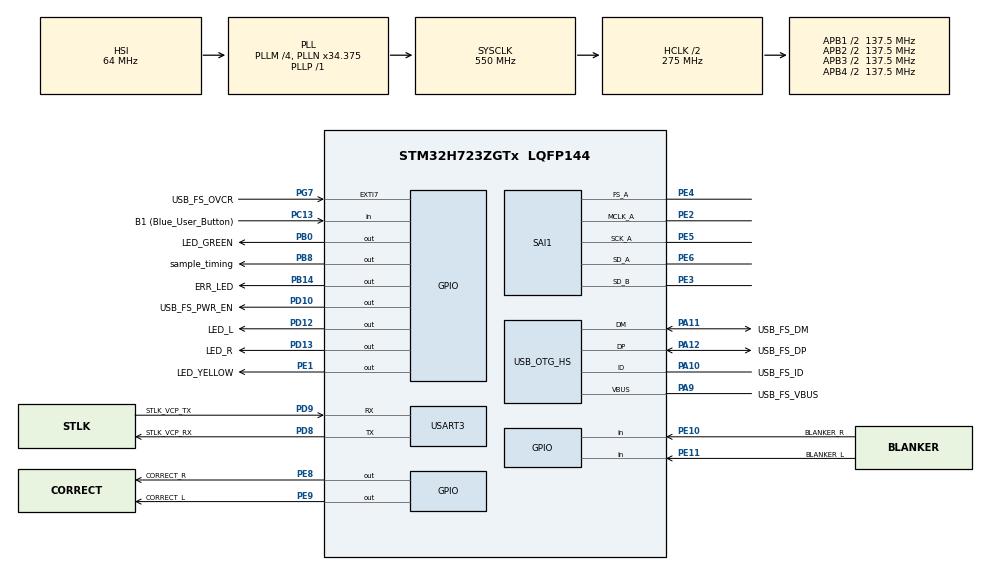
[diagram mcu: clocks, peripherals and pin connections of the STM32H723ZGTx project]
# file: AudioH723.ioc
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CORTEX_M7.AccessPermission-Cortex_Memory_Protection_Unit_Region0_Settings=MPU_REGION_FULL_ACCESS
CORTEX_M7.CPU_DCache=Disabled
CORTEX_M7.CPU_ICache=Disabled
CORTEX_M7.DisableExec-Cortex_Memory_Protection_Unit_Region0_Settings=MPU_INSTRUCTION_ACCESS_ENABLE
CORTEX_M7.Enable-Cortex_Memory_Protection_Unit_Region0_Settings=MPU_REGION_ENABLE
CORTEX_M7.IsShareable-Cortex_Memory_Protection_Unit_Region0_Settings=MPU_ACCESS_SHAREABLE
CORTEX_M7.MPU_Control=MPU_PRIVILEGED_DEFAULT
CORTEX_M7.Size-Cortex_Memory_Protection_Unit_Region0_Settings=MPU_REGION_SIZE_1GB
CORTEX_M7.SubRegionDisable-Cortex_Memory_Protection_Unit_Region0_Settings=0x87
Dma.Request0=SAI1_A
Dma.Request1=SAI1_B
Dma.Request2=USART3_TX
Dma.SAI1_A.0.Direction=DMA_PERIPH_TO_MEMORY
Dma.SAI1_A.0.EventEnable=DISABLE
Dma.SAI1_A.0.FIFOMode=DMA_FIFOMODE_DISABLE
Dma.SAI1_A.0.Instance=DMA1_Stream6
Dma.SAI1_A.0.MemDataAlignment=DMA_MDATAALIGN_HALFWORD
Dma.SAI1_A.0.MemInc=DMA_MINC_ENABLE
Dma.SAI1_A.0.Mode=DMA_CIRCULAR
Dma.SAI1_A.0.PeriphDataAlignment=DMA_PDATAALIGN_HALFWORD
Dma.SAI1_A.0.PeriphInc=DMA_PINC_DISABLE
Dma.SAI1_A.0.Polarity=HAL_DMAMUX_REQ_GEN_RISING
Dma.SAI1_A.0.Priority=DMA_PRIORITY_HIGH
Dma.SAI1_A.0.RequestNumber=1
Dma.SAI1_A.0.SignalID=NONE
Dma.SAI1_A.0.SyncEnable=DISABLE
Dma.SAI1_A.0.SyncPolarity=HAL_DMAMUX_SYNC_NO_EVENT
Dma.SAI1_A.0.SyncRequestNumber=1
Dma.SAI1_A.0.SyncSignalID=NONE
Dma.SAI1_B.1.Direction=DMA_MEMORY_TO_PERIPH
Dma.SAI1_B.1.EventEnable=DISABLE
Dma.SAI1_B.1.FIFOMode=DMA_FIFOMODE_DISABLE
Dma.SAI1_B.1.Instance=DMA1_Stream3
Dma.SAI1_B.1.MemDataAlignment=DMA_MDATAALIGN_HALFWORD
Dma.SAI1_B.1.MemInc=DMA_MINC_ENABLE
Dma.SAI1_B.1.Mode=DMA_CIRCULAR
Dma.SAI1_B.1.PeriphDataAlignment=DMA_PDATAALIGN_HALFWORD
Dma.SAI1_B.1.PeriphInc=DMA_PINC_DISABLE
Dma.SAI1_B.1.Polarity=HAL_DMAMUX_REQ_GEN_RISING
Dma.SAI1_B.1.Priority=DMA_PRIORITY_HIGH
Dma.SAI1_B.1.RequestNumber=1
Dma.SAI1_B.1.SignalID=NONE
Dma.SAI1_B.1.SyncEnable=DISABLE
Dma.SAI1_B.1.SyncPolarity=HAL_DMAMUX_SYNC_NO_EVENT
Dma.SAI1_B.1.SyncRequestNumber=1
Dma.SAI1_B.1.SyncSignalID=NONE
Dma.USART3_TX.2.Direction=DMA_MEMORY_TO_PERIPH
Dma.USART3_TX.2.EventEnable=DISABLE
Dma.USART3_TX.2.FIFOMode=DMA_FIFOMODE_ENABLE
Dma.USART3_TX.2.FIFOThreshold=DMA_FIFO_THRESHOLD_FULL
Dma.USART3_TX.2.Instance=DMA2_Stream1
Dma.USART3_TX.2.MemBurst=DMA_MBURST_SINGLE
Dma.USART3_TX.2.MemDataAlignment=DMA_MDATAALIGN_BYTE
Dma.USART3_TX.2.MemInc=DMA_MINC_ENABLE
Dma.USART3_TX.2.Mode=DMA_NORMAL
Dma.USART3_TX.2.PeriphBurst=DMA_PBURST_SINGLE
Dma.USART3_TX.2.PeriphDataAlignment=DMA_PDATAALIGN_BYTE
Dma.USART3_TX.2.PeriphInc=DMA_PINC_DISABLE
Dma.USART3_TX.2.Polarity=HAL_DMAMUX_REQ_GEN_RISING
Dma.USART3_TX.2.Priority=DMA_PRIORITY_HIGH
Dma.USART3_TX.2.RequestNumber=1
Dma.USART3_TX.2.SignalID=NONE
Dma.USART3_TX.2.SyncEnable=DISABLE
Dma.USART3_TX.2.SyncPolarity=HAL_DMAMUX_SYNC_NO_EVENT
Dma.USART3_TX.2.SyncRequestNumber=1
Dma.USART3_TX.2.SyncSignalID=NONE
Mcu.Family=STM32H7
Mcu.Name=STM32H723ZGTx
Mcu.Package=LQFP144
NVIC.DMA1_Stream3_IRQn=true\:0\:0\:true\:false\:true\:false\:true\:true
NVIC.DMA1_Stream6_IRQn=true\:0\:0\:true\:false\:true\:false\:true\:true
NVIC.DMA2_Stream1_IRQn=true\:0\:0\:false\:false\:true\:false\:true\:true
NVIC.PriorityGroup=NVIC_PRIORITYGROUP_4
NVIC.TIM16_IRQn=true\:0\:0\:false\:false\:true\:true\:true\:true
NVIC.TIM1_UP_IRQn=true\:0\:0\:false\:false\:true\:true\:true\:true
NVIC.TIM23_IRQn=true\:2\:0\:true\:false\:true\:true\:true\:true
NVIC.TIM2_IRQn=true\:2\:0\:true\:false\:true\:false\:true\:true
NVIC.TIM5_IRQn=true\:0\:0\:false\:false\:true\:true\:true\:true
NVIC.TimeBase=TIM2_IRQn
NVIC.TimeBaseIP=TIM2
NVIC.USART3_IRQn=true\:5\:0\:true\:false\:true\:true\:true\:true
PA10.GPIO_Label=USB_FS_ID
PA10.Mode=OTG/Dual-Role-Device-FS
PA10.Signal=USB_OTG_HS_ID
PA11.GPIO_Label=USB_FS_DM
PA11.Mode=OTG/Dual-Role-Device-FS
PA11.Signal=USB_OTG_HS_DM
PA12.GPIO_Label=USB_FS_DP
PA12.Mode=OTG/Dual-Role-Device-FS
PA12.Signal=USB_OTG_HS_DP
PA13(JTMS/SWDIO).GPIO_Label=SWDIO
PA13(JTMS/SWDIO).Mode=Trace_Asynchronous_SW
PA13(JTMS/SWDIO).Signal=DEBUG_JTMS-SWDIO
PA14(JTCK/SWCLK).GPIO_Label=SWCLK
PA14(JTCK/SWCLK).Mode=Trace_Asynchronous_SW
PA14(JTCK/SWCLK).Signal=DEBUG_JTCK-SWCLK
PA9.GPIO_Label=USB_FS_VBUS
PA9.Mode=Activate_VBUS_FS
PA9.Signal=USB_OTG_HS_VBUS
PB0.GPIO_Label=LED_GREEN
PB0.GPIO_Speed=GPIO_SPEED_FREQ_VERY_HIGH
PB0.Signal=GPIO_Output
PB14.GPIO_Label=ERR_LED
PB14.GPIO_PuPd=GPIO_PULLDOWN
PB14.GPIO_Speed=GPIO_SPEED_FREQ_VERY_HIGH
PB14.Signal=GPIO_Output
PB3(JTDO/TRACESWO).GPIO_Label=SWO
PB3(JTDO/TRACESWO).Mode=Trace_Asynchronous_SW
PB3(JTDO/TRACESWO).Signal=DEBUG_JTDO-SWO
PB8.GPIO_FM8=__NULL
PB8.GPIO_Label=sample_timing
PB8.GPIO_PuPd=GPIO_PULLDOWN
PB8.GPIO_Speed=GPIO_SPEED_FREQ_VERY_HIGH
PB8.Signal=GPIO_Output
PC13.GPIO_Label=B1 (Blue_User_Button)
PC13.Signal=GPIO_Input
PC14-OSC32_IN.Signal=RCC_OSC32_IN
PC15-OSC32_OUT.Signal=RCC_OSC32_OUT
PD10.GPIO_Label=USB_FS_PWR_EN
PD10.GPIO_PuPd=GPIO_NOPULL
PD10.GPIO_Speed=GPIO_SPEED_FREQ_VERY_HIGH
PD10.Signal=GPIO_Output
PD12.GPIO_Label=LED_L
PD12.GPIO_PuPd=GPIO_PULLDOWN
PD12.GPIO_Speed=GPIO_SPEED_FREQ_VERY_HIGH
PD12.Signal=GPIO_Output
PD13.GPIO_Label=LED_R
PD13.GPIO_PuPd=GPIO_PULLDOWN
PD13.GPIO_Speed=GPIO_SPEED_FREQ_VERY_HIGH
PD13.Signal=GPIO_Output
PD8.GPIO_Label=STLK_VCP_RX
PD8.Mode=Asynchronous
PD8.Signal=USART3_TX
PD9.GPIO_Label=STLK_VCP_TX
PD9.Mode=Asynchronous
PD9.Signal=USART3_RX
PE1.GPIO_Label=LED_YELLOW
PE1.Signal=GPIO_Output
PE10.GPIO_Label=BLANKER_R
PE10.GPIO_PuPd=GPIO_PULLDOWN
PE10.Signal=GPIO_Input
PE11.GPIO_Label=BLANKER_L
PE11.GPIO_PuPd=GPIO_PULLDOWN
PE11.Signal=GPIO_Input
PE13.GPIO_Speed=GPIO_SPEED_FREQ_VERY_HIGH
PE13.Signal=S_TIM1_CH3
PE2.GPIO_Speed=GPIO_SPEED_FREQ_VERY_HIGH
PE2.Mode=SAI_A_MasterWithClock
PE2.Signal=SAI1_MCLK_A
PE3.GPIO_Speed=GPIO_SPEED_FREQ_VERY_HIGH
PE3.Mode=SAI_B_SyncSlave
PE3.Signal=SAI1_SD_B
PE4.GPIO_Speed=GPIO_SPEED_FREQ_VERY_HIGH
PE4.Mode=SAI_A_MasterWithClock
PE4.Signal=SAI1_FS_A
PE5.GPIO_Speed=GPIO_SPEED_FREQ_VERY_HIGH
PE5.Mode=SAI_A_MasterWithClock
PE5.Signal=SAI1_SCK_A
PE6.GPIO_Speed=GPIO_SPEED_FREQ_VERY_HIGH
PE6.Mode=SAI_A_MasterWithClock
PE6.Signal=SAI1_SD_A
PE8.GPIO_Label=CORRECT_R
PE8.GPIO_PuPd=GPIO_PULLDOWN
PE8.GPIO_Speed=GPIO_SPEED_FREQ_VERY_HIGH
PE8.Signal=GPIO_Output
PE9.GPIO_Label=CORRECT_L
PE9.GPIO_PuPd=GPIO_PULLDOWN
PE9.GPIO_Speed=GPIO_SPEED_FREQ_VERY_HIGH
PE9.Signal=GPIO_Output
PG14.Signal=S_TIM23_CH3
PG7.GPIO_Label=USB_FS_OVCR
PG7.Signal=GPXTI7
PH0-OSC_IN.GPIO_Label=MCO
PH0-OSC_IN.Mode=HSE-External-Clock-Source
PH0-OSC_IN.Signal=RCC_OSC_IN
ProjectManager.HeapSize=0x400
ProjectManager.StackSize=0x800
ProjectManager.TargetToolchain=STM32CubeIDE
RCC.ADCFreq_Value=96000000
RCC.APB1Freq_Value=137500000
RCC.APB2Freq_Value=137500000
RCC.APB3Freq_Value=137500000
RCC.APB4Freq_Value=137500000
RCC.CortexFreq_Value=550000000
RCC.D1PPRE=RCC_APB3_DIV2
RCC.D2PPRE1=RCC_APB1_DIV2
RCC.D2PPRE2=RCC_APB2_DIV2
RCC.D3PPRE=RCC_APB4_DIV2
RCC.DIVM1=4
RCC.DIVM2=4
RCC.DIVN1=34
RCC.DIVN2=12
RCC.DIVP1=1
RCC.DIVQ1=4
RCC.HCLKFreq_Value=275000000
RCC.HPRE=RCC_HCLK_DIV2
RCC.HSE_VALUE=8000000
RCC.LSE_VALUE=32.77
RCC.PLL2FRACN=0
RCC.PLL3FRACN=0
RCC.PLL3_VCO_SEL-AdvancedSettings=RCC_PLL3VCOMEDIUM
RCC.PLLFRACN=3072
RCC.SAI1CLockSelection=RCC_SAI1CLKSOURCE_PLL2
RCC.SPI123CLockSelection=RCC_SPI123CLKSOURCE_PLL2
RCC.SYSCLKFreq_VALUE=550000000
RCC.SYSCLKSource=RCC_SYSCLKSOURCE_PLLCLK
RCC.USBCLockSelection=RCC_USBCLKSOURCE_HSI48
RCC.USBFreq_Value=48000000
SAI1.AudioFrequency-SAI_A_MasterWithClock=SAI_AUDIO_FREQUENCY_96K
SAI1.AudioMode-SAI_A_MasterWithClock=SAI_MODEMASTER_RX
SAI1.AudioMode-SAI_B_SyncSlave=SAI_MODESLAVE_TX
SAI1.BasicDataSize-SAI_B_SyncSlave=SAI_PROTOCOL_DATASIZE_16BIT
SAI1.BasicProtocol-SAI_B_SyncSlave=SAI_I2S_STANDARD
SAI1.ErrorAudioFreq-SAI_A_MasterWithClock=-2.34 %
SAI1.FIFOThreshold-SAI_A_MasterWithClock=SAI_FIFOTHRESHOLD_FULL
SAI1.FIFOThreshold-SAI_B_SyncSlave=SAI_FIFOTHRESHOLD_FULL
SAI1.InitProtocol-SAI_A_MasterWithClock=Enable
SAI1.InitProtocol-SAI_B_SyncSlave=Enable
SAI1.Instance-SAI_A_MasterWithClock=SAI$Index_Block_A
SAI1.Instance-SAI_B_SyncSlave=SAI$Index_Block_B
SAI1.MckOutput-SAI_A_MasterWithClock=SAI_MCK_OUTPUT_ENABLE
SAI1.OutputDrive-SAI_A_MasterWithClock=SAI_OUTPUTDRIVE_ENABLE
SAI1.OutputDrive-SAI_B_SyncSlave=SAI_OUTPUTDRIVE_ENABLE
SAI1.RealAudioFreq-SAI_A_MasterWithClock=93.75 KHz
SAI1.VirtualMode-SAI_A_MasterWithClock=VM_MASTER
SAI1.VirtualMode-SAI_B_SyncSlave=VM_SLAVE
SAI1.VirtualProtocol-SAI_A_BASIC=VM_BASIC_PROTOCOL
SAI1.VirtualProtocol-SAI_B_BASIC=VM_BASIC_PROTOCOL
SH.S_TIM1_CH3.0=TIM1_CH3
SH.S_TIM23_CH3.0=TIM23_CH3
TIM1.ClockDivision=TIM_CLOCKDIVISION_DIV1
TIM1.Period=9
TIM1.Prescaler=274
TIM16.Period=49
TIM16.Prescaler=54999
TIM23.Period=2749
TIM23.Prescaler=0
TIM5.Period=9
TIM5.Prescaler=274
USART3.VirtualMode-Asynchronous=VM_ASYNC
VP_SAI1_VP_$IpInstance_SAIA_SAI_BASIC.Mode=SAI_A_BASIC
VP_SAI1_VP_$IpInstance_SAIB_SAI_BASIC.Mode=SAI_B_BASIC
VP_SYS_VS_tim2.Mode=TIM2
VP_TIM16_VS_ClockSourceINT.Mode=Enable_Timer
VP_TIM1_VS_ClockSourceINT.Mode=Internal
VP_TIM1_VS_OPM.Mode=OPM_bit
VP_TIM23_VS_ClockSourceINT.Mode=Internal
VP_TIM23_VS_OPM.Mode=OPM_bit
VP_TIM5_VS_ClockSourceINT.Mode=Internal
board=NUCLEO-H723ZG

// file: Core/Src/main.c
/* USER CODE BEGIN Header */
/**
  ******************************************************************************
  * @file           : main.c
  * @brief          : Main program body
  ******************************************************************************
  * @attention
  *
  * Copyright (c) 2022 STMicroelectronics.
  * All rights reserved.
  *
  * This software is licensed under terms that can be found in the LICENSE file
  * in the root directory of this software component.
  * If no LICENSE file comes with this software, it is provided AS-IS.
  *
  ******************************************************************************
  */
/* USER CODE END Header */
#include "main.h"

/* USER CODE BEGIN Includes */
#include <stdio.h>
#include <stdlib.h>
#include <stdbool.h>
#include <math.h>

#include "logging.h"

#include "audio_dsp.h"

// #define PASS_THRU_ENABLED

/* USER CODE END Includes */

SAI_HandleTypeDef hsai_BlockA1;
SAI_HandleTypeDef hsai_BlockB1;
DMA_HandleTypeDef hdma_sai1_a;
DMA_HandleTypeDef hdma_sai1_b;

TIM_HandleTypeDef htim1;
TIM_HandleTypeDef htim5;
TIM_HandleTypeDef htim16;
TIM_HandleTypeDef htim23;

UART_HandleTypeDef huart3;
DMA_HandleTypeDef hdma_usart3_tx;

/* USER CODE BEGIN PV */

ALIGN_32BYTES(uint16_t rx_buf[4]);
ALIGN_32BYTES(uint16_t tx_buf[4]);

volatile uint32_t processing_time_us;

/* USER CODE END PV */

void SystemClock_Config(void);
void PeriphCommonClock_Config(void);
static void MPU_Config(void);
static void MX_GPIO_Init(void);
static void MX_DMA_Init(void);
static void MX_USB_OTG_HS_USB_Init(void);
static void MX_USART3_UART_Init(void);
static void MX_SAI1_Init(void);
static void MX_TIM1_Init(void);
static void MX_TIM16_Init(void);
static void MX_TIM23_Init(void);
static void MX_TIM5_Init(void);

int main(void)
{

  /* MCU Configuration--------------------------------------------------------*/

  /* Reset of all peripherals, Initializes the Flash interface and the Systick. */
  HAL_Init();

  /* MPU Configuration--------------------------------------------------------*/
  MPU_Config();

  /* Configure the system clock */
  SystemClock_Config();

/* Configure the peripherals common clocks */
  PeriphCommonClock_Config();

  /* Initialize all configured peripherals */
  MX_GPIO_Init();
  MX_DMA_Init();
  MX_USB_OTG_HS_USB_Init();
  MX_USART3_UART_Init();
  MX_SAI1_Init();
  MX_TIM1_Init();
  MX_TIM16_Init();
  MX_TIM23_Init();
  MX_TIM5_Init();
  /* USER CODE BEGIN 2 */

  // init_dma_logging();

  rx_buf[0]=0;
  rx_buf[1]=0;
  rx_buf[2]=0;
  rx_buf[3]=0;
  tx_buf[0]=0;
  tx_buf[1]=0;
  tx_buf[2]=0;
  tx_buf[3]=0;

  printf("\r\nDUVITECH Copyright 2023\r\n");
  printf("AUDIO Processing Demo Shield v2.0\r\n\r\n");
  printf("AUDIO: %lu Hz 16 bits \r\n", hsai_BlockA1.Init.AudioFrequency);
  //printf("M0: %i\r\n", TKS_M0);
  //printf("K: %i\r\n", TKE_K);

  // initialize
  processing_time_us = 0;

  ((GPIO_TypeDef*) CORRECT_R_GPIO_Port)->BSRR = (uint32_t) CORRECT_R_Pin << 16U; // reset pin
  ((GPIO_TypeDef*) CORRECT_L_GPIO_Port)->BSRR = (uint32_t) CORRECT_L_Pin << 16U; // reset pin
  ((GPIO_TypeDef*) sample_timing_GPIO_Port)->BSRR = (uint32_t) sample_timing_Pin << 16U; // reset pin
  audio_dsp_init();
  HAL_Delay(200);

  ((GPIO_TypeDef*) sample_timing_GPIO_Port)->BSRR = sample_timing_Pin;  // timing start

  if (HAL_OK != HAL_SAI_Transmit_DMA(&hsai_BlockB1, (uint8_t*) tx_buf, 4)) {
	Error_Handler();
  }

  if (HAL_OK != HAL_SAI_Receive_DMA(&hsai_BlockA1, (uint8_t*) rx_buf, 4)) {
	Error_Handler();
  }

  //HAL_TIM_PWM_Start(&htim1, TIM_CHANNEL_3);
  // HAL_TIM_Base_Start_IT(&htim5);
  /* USER CODE END 2 */

  /* Infinite loop */
  while (1)
  {

    /* USER CODE BEGIN 3 */
    // Print the processing time every few seconds
	// printf("Processing Time: %ld uSec\r\n", processing_time_us);
	// Delay for a few seconds (adjust as needed)
	HAL_Delay(2000); // Delay for 2 seconds

	//  processUartTxData();
  }
  /* USER CODE END 3 */
}

void SystemClock_Config(void)
{
  RCC_OscInitTypeDef RCC_OscInitStruct = {0};
  RCC_ClkInitTypeDef RCC_ClkInitStruct = {0};

  /** Supply configuration update enable
  */
  HAL_PWREx_ConfigSupply(PWR_LDO_SUPPLY);

  /** Configure the main internal regulator output voltage
  */
  __HAL_PWR_VOLTAGESCALING_CONFIG(PWR_REGULATOR_VOLTAGE_SCALE0);

  while(!__HAL_PWR_GET_FLAG(PWR_FLAG_VOSRDY)) {}

  /** Initializes the RCC Oscillators according to the specified parameters
  * in the RCC_OscInitTypeDef structure.
  */
  RCC_OscInitStruct.OscillatorType = RCC_OSCILLATORTYPE_HSI48|RCC_OSCILLATORTYPE_HSI;
  RCC_OscInitStruct.HSIState = RCC_HSI_DIV1;
  RCC_OscInitStruct.HSICalibrationValue = 64;
  RCC_OscInitStruct.HSI48State = RCC_HSI48_ON;
  RCC_OscInitStruct.PLL.PLLState = RCC_PLL_ON;
  RCC_OscInitStruct.PLL.PLLSource = RCC_PLLSOURCE_HSI;
  RCC_OscInitStruct.PLL.PLLM = 4;
  RCC_OscInitStruct.PLL.PLLN = 34;
  RCC_OscInitStruct.PLL.PLLP = 1;
  RCC_OscInitStruct.PLL.PLLQ = 4;
  RCC_OscInitStruct.PLL.PLLR = 2;
  RCC_OscInitStruct.PLL.PLLRGE = RCC_PLL1VCIRANGE_3;
  RCC_OscInitStruct.PLL.PLLVCOSEL = RCC_PLL1VCOWIDE;
  RCC_OscInitStruct.PLL.PLLFRACN = 3072;
  if (HAL_RCC_OscConfig(&RCC_OscInitStruct) != HAL_OK)
  {
    Error_Handler();
  }

  /** Initializes the CPU, AHB and APB buses clocks
  */
  RCC_ClkInitStruct.ClockType = RCC_CLOCKTYPE_HCLK|RCC_CLOCKTYPE_SYSCLK
                              |RCC_CLOCKTYPE_PCLK1|RCC_CLOCKTYPE_PCLK2
                              |RCC_CLOCKTYPE_D3PCLK1|RCC_CLOCKTYPE_D1PCLK1;
  RCC_ClkInitStruct.SYSCLKSource = RCC_SYSCLKSOURCE_PLLCLK;
  RCC_ClkInitStruct.SYSCLKDivider = RCC_SYSCLK_DIV1;
  RCC_ClkInitStruct.AHBCLKDivider = RCC_HCLK_DIV2;
  RCC_ClkInitStruct.APB3CLKDivider = RCC_APB3_DIV2;
  RCC_ClkInitStruct.APB1CLKDivider = RCC_APB1_DIV2;
  RCC_ClkInitStruct.APB2CLKDivider = RCC_APB2_DIV2;
  RCC_ClkInitStruct.APB4CLKDivider = RCC_APB4_DIV2;

  if (HAL_RCC_ClockConfig(&RCC_ClkInitStruct, FLASH_LATENCY_3) != HAL_OK)
  {
    Error_Handler();
  }
}

void PeriphCommonClock_Config(void)
{
  RCC_PeriphCLKInitTypeDef PeriphClkInitStruct = {0};

  /** Initializes the peripherals clock
  */
  PeriphClkInitStruct.PeriphClockSelection = RCC_PERIPHCLK_SAI1;
  PeriphClkInitStruct.PLL2.PLL2M = 4;
  PeriphClkInitStruct.PLL2.PLL2N = 12;
  PeriphClkInitStruct.PLL2.PLL2P = 2;
  PeriphClkInitStruct.PLL2.PLL2Q = 2;
  PeriphClkInitStruct.PLL2.PLL2R = 2;
  PeriphClkInitStruct.PLL2.PLL2RGE = RCC_PLL2VCIRANGE_3;
  PeriphClkInitStruct.PLL2.PLL2VCOSEL = RCC_PLL2VCOWIDE;
  PeriphClkInitStruct.PLL2.PLL2FRACN = 0;
  PeriphClkInitStruct.Sai1ClockSelection = RCC_SAI1CLKSOURCE_PLL2;
  if (HAL_RCCEx_PeriphCLKConfig(&PeriphClkInitStruct) != HAL_OK)
  {
    Error_Handler();
  }
}

static void MX_SAI1_Init(void)
{

  hsai_BlockA1.Instance = SAI1_Block_A;
  hsai_BlockA1.Init.AudioMode = SAI_MODEMASTER_RX;
  hsai_BlockA1.Init.Synchro = SAI_ASYNCHRONOUS;
  hsai_BlockA1.Init.OutputDrive = SAI_OUTPUTDRIVE_ENABLE;
  hsai_BlockA1.Init.NoDivider = SAI_MASTERDIVIDER_ENABLE;
  hsai_BlockA1.Init.FIFOThreshold = SAI_FIFOTHRESHOLD_FULL;
  hsai_BlockA1.Init.AudioFrequency = SAI_AUDIO_FREQUENCY_96K;
  hsai_BlockA1.Init.SynchroExt = SAI_SYNCEXT_DISABLE;
  hsai_BlockA1.Init.MonoStereoMode = SAI_STEREOMODE;
  hsai_BlockA1.Init.CompandingMode = SAI_NOCOMPANDING;
  if (HAL_SAI_InitProtocol(&hsai_BlockA1, SAI_I2S_STANDARD, SAI_PROTOCOL_DATASIZE_16BIT, 2) != HAL_OK)
  {
    Error_Handler();
  }
  hsai_BlockB1.Instance = SAI1_Block_B;
  hsai_BlockB1.Init.AudioMode = SAI_MODESLAVE_TX;
  hsai_BlockB1.Init.Synchro = SAI_SYNCHRONOUS;
  hsai_BlockB1.Init.OutputDrive = SAI_OUTPUTDRIVE_ENABLE;
  hsai_BlockB1.Init.FIFOThreshold = SAI_FIFOTHRESHOLD_FULL;
  hsai_BlockB1.Init.SynchroExt = SAI_SYNCEXT_DISABLE;
  hsai_BlockB1.Init.MonoStereoMode = SAI_STEREOMODE;
  hsai_BlockB1.Init.CompandingMode = SAI_NOCOMPANDING;
  hsai_BlockB1.Init.TriState = SAI_OUTPUT_NOTRELEASED;
  if (HAL_SAI_InitProtocol(&hsai_BlockB1, SAI_I2S_STANDARD, SAI_PROTOCOL_DATASIZE_16BIT, 2) != HAL_OK)
  {
    Error_Handler();
  }

}

static void MX_TIM1_Init(void)
{

  TIM_ClockConfigTypeDef sClockSourceConfig = {0};
  TIM_MasterConfigTypeDef sMasterConfig = {0};

  htim1.Instance = TIM1;
  htim1.Init.Prescaler = 274;
  htim1.Init.CounterMode = TIM_COUNTERMODE_UP;
  htim1.Init.Period = 9;
  htim1.Init.ClockDivision = TIM_CLOCKDIVISION_DIV1;
  htim1.Init.RepetitionCounter = 0;
  htim1.Init.AutoReloadPreload = TIM_AUTORELOAD_PRELOAD_DISABLE;
  if (HAL_TIM_Base_Init(&htim1) != HAL_OK)
  {
    Error_Handler();
  }
  sClockSourceConfig.ClockSource = TIM_CLOCKSOURCE_INTERNAL;
  if (HAL_TIM_ConfigClockSource(&htim1, &sClockSourceConfig) != HAL_OK)
  {
    Error_Handler();
  }
  if (HAL_TIM_OnePulse_Init(&htim1, TIM_OPMODE_SINGLE) != HAL_OK)
  {
    Error_Handler();
  }
  sMasterConfig.MasterOutputTrigger = TIM_TRGO_RESET;
  sMasterConfig.MasterOutputTrigger2 = TIM_TRGO2_RESET;
  sMasterConfig.MasterSlaveMode = TIM_MASTERSLAVEMODE_DISABLE;
  if (HAL_TIMEx_MasterConfigSynchronization(&htim1, &sMasterConfig) != HAL_OK)
  {
    Error_Handler();
  }

}

static void MX_TIM5_Init(void)
{

  TIM_ClockConfigTypeDef sClockSourceConfig = {0};
  TIM_MasterConfigTypeDef sMasterConfig = {0};

  htim5.Instance = TIM5;
  htim5.Init.Prescaler = 274;
  htim5.Init.CounterMode = TIM_COUNTERMODE_UP;
  htim5.Init.Period = 9;
  htim5.Init.ClockDivision = TIM_CLOCKDIVISION_DIV1;
  htim5.Init.AutoReloadPreload = TIM_AUTORELOAD_PRELOAD_DISABLE;
  if (HAL_TIM_Base_Init(&htim5) != HAL_OK)
  {
    Error_Handler();
  }
  sClockSourceConfig.ClockSource = TIM_CLOCKSOURCE_INTERNAL;
  if (HAL_TIM_ConfigClockSource(&htim5, &sClockSourceConfig) != HAL_OK)
  {
    Error_Handler();
  }
  sMasterConfig.MasterOutputTrigger = TIM_TRGO_RESET;
  sMasterConfig.MasterSlaveMode = TIM_MASTERSLAVEMODE_DISABLE;
  if (HAL_TIMEx_MasterConfigSynchronization(&htim5, &sMasterConfig) != HAL_OK)
  {
    Error_Handler();
  }

}

static void MX_TIM16_Init(void)
{

  htim16.Instance = TIM16;
  htim16.Init.Prescaler = 54999;
  htim16.Init.CounterMode = TIM_COUNTERMODE_UP;
  htim16.Init.Period = 49;
  htim16.Init.ClockDivision = TIM_CLOCKDIVISION_DIV1;
  htim16.Init.RepetitionCounter = 0;
  htim16.Init.AutoReloadPreload = TIM_AUTORELOAD_PRELOAD_DISABLE;
  if (HAL_TIM_Base_Init(&htim16) != HAL_OK)
  {
    Error_Handler();
  }

}

static void MX_TIM23_Init(void)
{

  TIM_ClockConfigTypeDef sClockSourceConfig = {0};
  TIM_MasterConfigTypeDef sMasterConfig = {0};

  htim23.Instance = TIM23;
  htim23.Init.Prescaler = 0;
  htim23.Init.CounterMode = TIM_COUNTERMODE_UP;
  htim23.Init.Period = 2749;
  htim23.Init.ClockDivision = TIM_CLOCKDIVISION_DIV1;
  htim23.Init.AutoReloadPreload = TIM_AUTORELOAD_PRELOAD_DISABLE;
  if (HAL_TIM_Base_Init(&htim23) != HAL_OK)
  {
    Error_Handler();
  }
  sClockSourceConfig.ClockSource = TIM_CLOCKSOURCE_INTERNAL;
  if (HAL_TIM_ConfigClockSource(&htim23, &sClockSourceConfig) != HAL_OK)
  {
    Error_Handler();
  }
  if (HAL_TIM_OnePulse_Init(&htim23, TIM_OPMODE_SINGLE) != HAL_OK)
  {
    Error_Handler();
  }
  sMasterConfig.MasterOutputTrigger = TIM_TRGO_RESET;
  sMasterConfig.MasterSlaveMode = TIM_MASTERSLAVEMODE_DISABLE;
  if (HAL_TIMEx_MasterConfigSynchronization(&htim23, &sMasterConfig) != HAL_OK)
  {
    Error_Handler();
  }

}

static void MX_USART3_UART_Init(void)
{

  huart3.Instance = USART3;
  huart3.Init.BaudRate = 115200;
  huart3.Init.WordLength = UART_WORDLENGTH_8B;
  huart3.Init.StopBits = UART_STOPBITS_1;
  huart3.Init.Parity = UART_PARITY_NONE;
  huart3.Init.Mode = UART_MODE_TX_RX;
  huart3.Init.HwFlowCtl = UART_HWCONTROL_NONE;
  huart3.Init.OverSampling = UART_OVERSAMPLING_16;
  huart3.Init.OneBitSampling = UART_ONE_BIT_SAMPLE_DISABLE;
  huart3.Init.ClockPrescaler = UART_PRESCALER_DIV1;
  huart3.AdvancedInit.AdvFeatureInit = UART_ADVFEATURE_NO_INIT;
  if (HAL_UART_Init(&huart3) != HAL_OK)
  {
    Error_Handler();
  }
  if (HAL_UARTEx_SetTxFifoThreshold(&huart3, UART_TXFIFO_THRESHOLD_1_8) != HAL_OK)
  {
    Error_Handler();
  }
  if (HAL_UARTEx_SetRxFifoThreshold(&huart3, UART_RXFIFO_THRESHOLD_1_8) != HAL_OK)
  {
    Error_Handler();
  }
  if (HAL_UARTEx_DisableFifoMode(&huart3) != HAL_OK)
  {
    Error_Handler();
  }

}

static void MX_USB_OTG_HS_USB_Init(void)
{

}

static void MX_DMA_Init(void)
{

  /* DMA controller clock enable */
  __HAL_RCC_DMA1_CLK_ENABLE();
  __HAL_RCC_DMA2_CLK_ENABLE();

  /* DMA interrupt init */
  /* DMA1_Stream3_IRQn interrupt configuration */
  HAL_NVIC_SetPriority(DMA1_Stream3_IRQn, 0, 0);
  HAL_NVIC_EnableIRQ(DMA1_Stream3_IRQn);
  /* DMA1_Stream6_IRQn interrupt configuration */
  HAL_NVIC_SetPriority(DMA1_Stream6_IRQn, 0, 0);
  HAL_NVIC_EnableIRQ(DMA1_Stream6_IRQn);
  /* DMA2_Stream1_IRQn interrupt configuration */
  HAL_NVIC_SetPriority(DMA2_Stream1_IRQn, 0, 0);
  HAL_NVIC_EnableIRQ(DMA2_Stream1_IRQn);

}

static void MX_GPIO_Init(void)
{
  GPIO_InitTypeDef GPIO_InitStruct = {0};

  /* GPIO Ports Clock Enable */
  __HAL_RCC_GPIOE_CLK_ENABLE();
  __HAL_RCC_GPIOC_CLK_ENABLE();
  __HAL_RCC_GPIOH_CLK_ENABLE();
  __HAL_RCC_GPIOB_CLK_ENABLE();
  __HAL_RCC_GPIOD_CLK_ENABLE();
  __HAL_RCC_GPIOG_CLK_ENABLE();
  __HAL_RCC_GPIOA_CLK_ENABLE();

  /*Configure GPIO pin Output Level */
  HAL_GPIO_WritePin(GPIOB, LED_GREEN_Pin|ERR_LED_Pin|sample_timing_Pin, GPIO_PIN_RESET);

  /*Configure GPIO pin Output Level */
  HAL_GPIO_WritePin(GPIOE, CORRECT_R_Pin|CORRECT_L_Pin|LED_YELLOW_Pin, GPIO_PIN_RESET);

  /*Configure GPIO pin Output Level */
  HAL_GPIO_WritePin(GPIOD, USB_FS_PWR_EN_Pin|LED_L_Pin|LED_R_Pin, GPIO_PIN_RESET);

  /*Configure GPIO pin : B1_Pin */
  GPIO_InitStruct.Pin = B1_Pin;
  GPIO_InitStruct.Mode = GPIO_MODE_INPUT;
  GPIO_InitStruct.Pull = GPIO_NOPULL;
  HAL_GPIO_Init(B1_GPIO_Port, &GPIO_InitStruct);

  /*Configure GPIO pin : LED_GREEN_Pin */
  GPIO_InitStruct.Pin = LED_GREEN_Pin;
  GPIO_InitStruct.Mode = GPIO_MODE_OUTPUT_PP;
  GPIO_InitStruct.Pull = GPIO_NOPULL;
  GPIO_InitStruct.Speed = GPIO_SPEED_FREQ_VERY_HIGH;
  HAL_GPIO_Init(LED_GREEN_GPIO_Port, &GPIO_InitStruct);

  /*Configure GPIO pins : CORRECT_R_Pin CORRECT_L_Pin */
  GPIO_InitStruct.Pin = CORRECT_R_Pin|CORRECT_L_Pin;
  GPIO_InitStruct.Mode = GPIO_MODE_OUTPUT_PP;
  GPIO_InitStruct.Pull = GPIO_PULLDOWN;
  GPIO_InitStruct.Speed = GPIO_SPEED_FREQ_VERY_HIGH;
  HAL_GPIO_Init(GPIOE, &GPIO_InitStruct);

  /*Configure GPIO pins : BLANKER_R_Pin BLANKER_L_Pin */
  GPIO_InitStruct.Pin = BLANKER_R_Pin|BLANKER_L_Pin;
  GPIO_InitStruct.Mode = GPIO_MODE_INPUT;
  GPIO_InitStruct.Pull = GPIO_PULLDOWN;
  HAL_GPIO_Init(GPIOE, &GPIO_InitStruct);

  /*Configure GPIO pins : ERR_LED_Pin sample_timing_Pin */
  GPIO_InitStruct.Pin = ERR_LED_Pin|sample_timing_Pin;
  GPIO_InitStruct.Mode = GPIO_MODE_OUTPUT_PP;
  GPIO_InitStruct.Pull = GPIO_PULLDOWN;
  GPIO_InitStruct.Speed = GPIO_SPEED_FREQ_VERY_HIGH;
  HAL_GPIO_Init(GPIOB, &GPIO_InitStruct);

  /*Configure GPIO pin : USB_FS_PWR_EN_Pin */
  GPIO_InitStruct.Pin = USB_FS_PWR_EN_Pin;
  GPIO_InitStruct.Mode = GPIO_MODE_OUTPUT_PP;
  GPIO_InitStruct.Pull = GPIO_NOPULL;
  GPIO_InitStruct.Speed = GPIO_SPEED_FREQ_VERY_HIGH;
  HAL_GPIO_Init(USB_FS_PWR_EN_GPIO_Port, &GPIO_InitStruct);

  /*Configure GPIO pins : LED_L_Pin LED_R_Pin */
  GPIO_InitStruct.Pin = LED_L_Pin|LED_R_Pin;
  GPIO_InitStruct.Mode = GPIO_MODE_OUTPUT_PP;
  GPIO_InitStruct.Pull = GPIO_PULLDOWN;
  GPIO_InitStruct.Speed = GPIO_SPEED_FREQ_VERY_HIGH;
  HAL_GPIO_Init(GPIOD, &GPIO_InitStruct);

  /*Configure GPIO pin : USB_FS_OVCR_Pin */
  GPIO_InitStruct.Pin = USB_FS_OVCR_Pin;
  GPIO_InitStruct.Mode = GPIO_MODE_IT_RISING;
  GPIO_InitStruct.Pull = GPIO_NOPULL;
  HAL_GPIO_Init(USB_FS_OVCR_GPIO_Port, &GPIO_InitStruct);

  /*Configure GPIO pin : USB_FS_VBUS_Pin */
  GPIO_InitStruct.Pin = USB_FS_VBUS_Pin;
  GPIO_InitStruct.Mode = GPIO_MODE_INPUT;
  GPIO_InitStruct.Pull = GPIO_NOPULL;
  HAL_GPIO_Init(USB_FS_VBUS_GPIO_Port, &GPIO_InitStruct);

  /*Configure GPIO pin : USB_FS_ID_Pin */
  GPIO_InitStruct.Pin = USB_FS_ID_Pin;
  GPIO_InitStruct.Mode = GPIO_MODE_AF_PP;
  GPIO_InitStruct.Pull = GPIO_NOPULL;
  GPIO_InitStruct.Speed = GPIO_SPEED_FREQ_LOW;
  GPIO_InitStruct.Alternate = GPIO_AF10_OTG1_HS;
  HAL_GPIO_Init(USB_FS_ID_GPIO_Port, &GPIO_InitStruct);

  /*Configure GPIO pin : LED_YELLOW_Pin */
  GPIO_InitStruct.Pin = LED_YELLOW_Pin;
  GPIO_InitStruct.Mode = GPIO_MODE_OUTPUT_PP;
  GPIO_InitStruct.Pull = GPIO_NOPULL;
  GPIO_InitStruct.Speed = GPIO_SPEED_FREQ_LOW;
  HAL_GPIO_Init(LED_YELLOW_GPIO_Port, &GPIO_InitStruct);

}

/* MPU Configuration */

void MPU_Config(void)
{
  MPU_Region_InitTypeDef MPU_InitStruct = {0};

  /* Disables the MPU */
  HAL_MPU_Disable();

  /** Initializes and configures the Region and the memory to be protected
  */
  MPU_InitStruct.Enable = MPU_REGION_ENABLE;
  MPU_InitStruct.Number = MPU_REGION_NUMBER0;
  MPU_InitStruct.BaseAddress = 0x0;
  MPU_InitStruct.Size = MPU_REGION_SIZE_1GB;
  MPU_InitStruct.SubRegionDisable = 0x87;
  MPU_InitStruct.TypeExtField = MPU_TEX_LEVEL0;
  MPU_InitStruct.AccessPermission = MPU_REGION_FULL_ACCESS;
  MPU_InitStruct.DisableExec = MPU_INSTRUCTION_ACCESS_ENABLE;
  MPU_InitStruct.IsShareable = MPU_ACCESS_SHAREABLE;
  MPU_InitStruct.IsCacheable = MPU_ACCESS_NOT_CACHEABLE;
  MPU_InitStruct.IsBufferable = MPU_ACCESS_NOT_BUFFERABLE;

  HAL_MPU_ConfigRegion(&MPU_InitStruct);
  /* Enables the MPU */
  HAL_MPU_Enable(MPU_PRIVILEGED_DEFAULT);

}

void HAL_TIM_PeriodElapsedCallback(TIM_HandleTypeDef *htim)
{
  if (htim->Instance == TIM2) {
    HAL_IncTick();
  }
  /* USER CODE BEGIN Callback 1 */
  //if (htim->Instance == TIM5) {
//	  enable_dac();
 // }
  /* USER CODE END Callback 1 */
}

void Error_Handler(void)
{
  /* USER CODE BEGIN Error_Handler_Debug */
	HAL_GPIO_WritePin(ERR_LED_GPIO_Port, ERR_LED_Pin, GPIO_PIN_SET);
  /* User can add his own implementation to report the HAL error return state */
  __disable_irq();
  while (1)
  {
  }
  /* USER CODE END Error_Handler_Debug */
}
